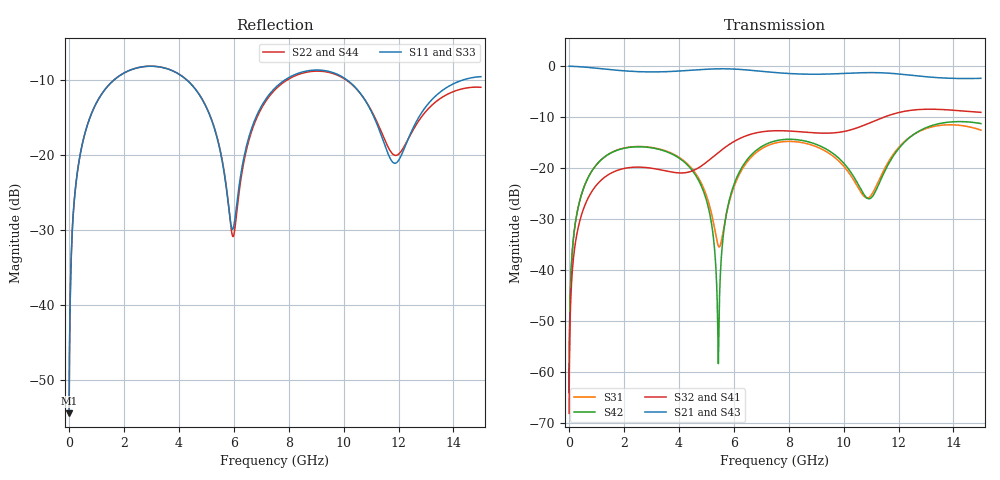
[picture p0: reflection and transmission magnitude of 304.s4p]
! Created with skrf 1.8.0 (http://scikit-rf.org).
# GHz S RI R 50.0
!freq ReS11 ImS11 ReS12 ImS12 ReS13 ImS13
! ReS14 ImS14
! ReS21 ImS21 ReS22 ImS22 ReS23 ImS23
! ReS24 ImS24
! ReS31 ImS31 ReS32 ImS32 ReS33 ImS33
! ReS34 ImS34
! ReS41 ImS41 ReS42 ImS42 ReS43 ImS43
! ReS44 ImS44
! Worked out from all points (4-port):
!   2499 points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, 5 MHz to 15 GHz, reference 50 ohm
!   strongest paths, dB at 5 MHz, 3.476 GHz, 7.19 GHz, 11.1 GHz, 15 GHz:
!     S21: 0.0, -1.1, -1.1, -1.3, -2.4
!     S43: 0.0, -1.1, -1.1, -1.3, -2.4
!     S32: -68.1, -20.5, -12.8, -10.8, -9.1
!     S41: -68.1, -20.6, -12.8, -10.8, -9.3
!     S42: -64.0, -16.6, -15.3, -25.2, -11.3
!     S31: -64.0, -16.5, -15.7, -24.5, -12.6
!   lowest |S11| = -54.5 dB at 5 MHz (marker M1), VSWR 1.00, Z = 50.2 + j0.114 ohm
!   |S11| at or under -10 dB: start of sweep to 1.638 GHz; 4.29 GHz to 7.859 GHz (3.569 GHz wide, 58.8 % of centre); 10.13 GHz to 14.34 GHz (4.215 GHz wide, 34.4 % of centre)
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0.005  0.00151 0.00114  0.9985 -0.00293  7.62e-05 0.000624  -7.38e-05 -0.000387
       0.9985 -0.00293  0.00151 0.00114  -7.38e-05 -0.000387  7.61e-05 0.000624
       7.62e-05 0.000624  -7.38e-05 -0.000387  0.00151 0.00114  0.9985 -0.00293
       -7.38e-05 -0.000387  7.61e-05 0.000624  0.9985 -0.00293  0.00151 0.00114
0.3126303  0.0208 0.0756  0.9716 -0.183  0.00985 0.0374  -0.00812 -0.023
           0.9716 -0.183  0.0209 0.0756  -0.00813 -0.023  0.00975 0.0374
           0.00985 0.0374  -0.00813 -0.023  0.0208 0.0756  0.9716 -0.183
           -0.00812 -0.023  0.00975 0.0374  0.9716 -0.183  0.0209 0.0756
1.519383  0.237 0.1869  0.6162 -0.6867  0.1209 0.0721  -0.0869 -0.0173
          0.6162 -0.6867  0.2374 0.1867  -0.0872 -0.0171  0.1194 0.0737
          0.1209 0.0721  -0.0872 -0.0171  0.2369 0.187  0.6161 -0.6867
          -0.0869 -0.0173  0.1194 0.0737  0.6161 -0.6867  0.2375 0.1865
5.439767  0.0593 -0.1044  -0.8793 -0.3335  -0.0161 -0.00621  -0.0486 0.1335
          -0.8793 -0.3335  0.0572 -0.1078  -0.0438 0.1352  -0.00121 5.8e-05
          -0.0161 -0.00621  -0.0438 0.1352  0.0606 -0.1043  -0.8793 -0.3334
          -0.0486 0.1335  -0.00121 5.8e-05  -0.8793 -0.3334  0.0562 -0.1086
6.427678  0.0626 0.0875  -0.9025 0.1747  0.0406 0.1014  0.0517 0.1993
          -0.9025 0.1747  0.0571 0.0838  0.0583 0.1978  0.0581 0.0992
          0.0406 0.1014  0.0583 0.1978  0.0631 0.0862  -0.9025 0.1748
          0.0517 0.1993  0.0581 0.0992  -0.9025 0.1748  0.0565 0.0842
9.541476  0.3486 -0.0804  0.1203 0.8289  0.1005 -0.0909  0.2041 -0.0747
          0.1203 0.8289  0.3455 -0.0701  0.2021 -0.0881  0.1011 -0.1021
          0.1005 -0.0909  0.2021 -0.0881  0.3469 -0.0772  0.1207 0.829
          0.2041 -0.0747  0.1011 -0.1021  0.1207 0.829  0.3463 -0.0737
15  0.3307 -0.0379  0.1854 -0.7356  0.2343 -0.0255  -0.3425 -0.00304
    0.1854 -0.7356  0.2811 -0.0304  -0.3511 0.0268  0.2481 -0.1143
    0.2343 -0.0255  -0.3511 0.0268  0.3194 -0.0306  0.1845 -0.7362
    -0.3425 -0.00304  0.2481 -0.1143  0.1845 -0.7362  0.2906 -0.0423
